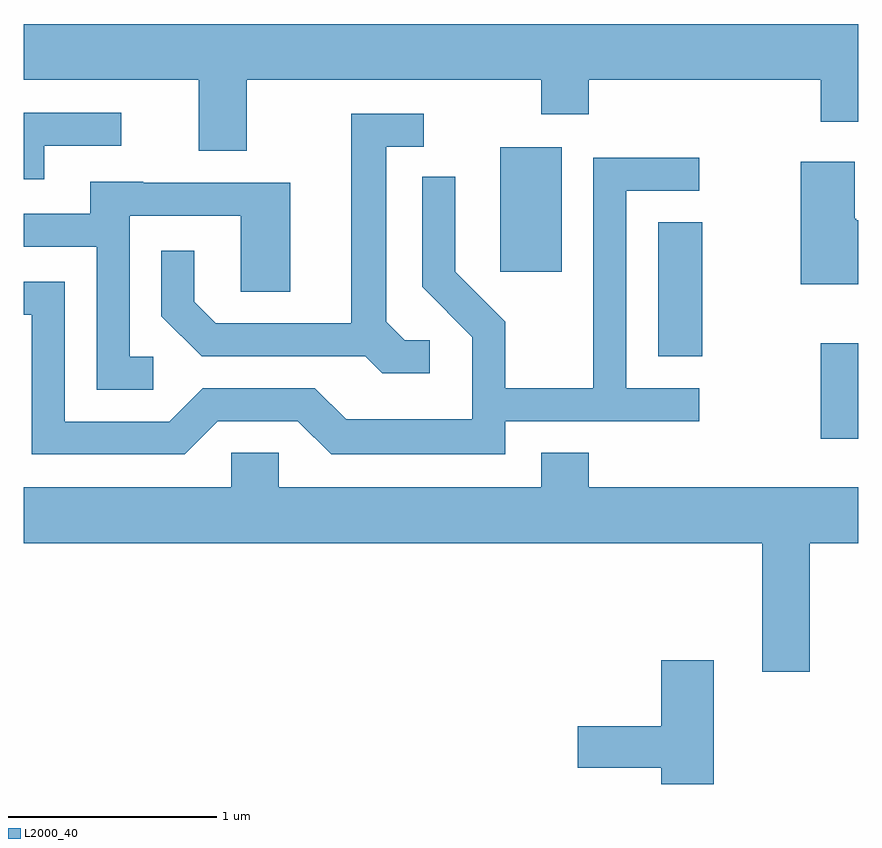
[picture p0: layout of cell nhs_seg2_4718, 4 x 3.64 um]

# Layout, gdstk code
import gdstk
lib = gdstk.Library(unit=1e-6, precision=1e-09)
def R(c, l, rs):  # rectangles x0, y0, x1, y1
    for r in rs: c.add(gdstk.rectangle(r[:2], r[2:], *l))
def P(c, l, *ps):  # polygons
    for p in ps: c.add(gdstk.Polygon(p, *l))
L2000_40 = (2000, 40)

nhs_seg2_4718 = lib.new_cell('nhs_seg2_4718')
R(nhs_seg2_4718, L2000_40, [(327.431,1075.456,327.611,1075.914), (326.651,1075.851,326.864,1076.494), (325.896,1076.256,326.189,1076.854)])
P(nhs_seg2_4718, L2000_40, [(324.679,1077.176),(326.091,1077.176),(326.091,1077.011),(326.319,1077.011),(326.319,1077.176),(327.431,1077.176),(327.431,1076.976),(327.611,1076.976),(327.611,1077.444),(323.611,1077.444),(323.611,1077.176),(324.451,1077.176),(324.451,1076.836),(324.679,1076.836)],
  [(323.709,1076.861),(324.078,1076.861),(324.078,1077.019),(323.611,1077.019),(323.611,1076.701),(323.709,1076.701)],
  [(325.558,1075.929),(325.437,1075.929),(325.349,1076.017),(325.349,1076.856),(325.528,1076.856),(325.528,1077.014),(325.181,1077.014),(325.181,1076.009),(324.532,1076.009),(324.429,1076.112),(324.429,1076.358),(324.271,1076.358),(324.271,1076.044),(324.464,1075.851),(325.249,1075.851),(325.329,1075.771),(325.558,1075.771)],
  [(324.542,1075.541),(324.924,1075.541),(325.084,1075.381),(325.919,1075.381),(325.919,1075.541),(326.848,1075.541),(326.848,1075.699),(326.499,1075.699),(326.499,1076.646),(326.848,1076.646),(326.848,1076.804),(326.341,1076.804),(326.341,1075.699),(325.919,1075.699),(325.919,1076.017),(325.679,1076.257),(325.679,1076.713),(325.521,1076.713),(325.521,1076.184),(325.761,1075.944),(325.761,1075.549),(325.157,1075.549),(325.007,1075.699),(324.469,1075.699),(324.309,1075.539),(323.809,1075.539),(323.809,1076.209),(323.611,1076.209),(323.611,1076.051),(323.651,1076.051),(323.651,1075.381),(324.382,1075.381)],
  [(327.611,1076.504),(327.6,1076.504),(327.6,1076.51),(327.594,1076.51),(327.594,1076.784),(327.336,1076.784),(327.336,1076.196),(327.611,1076.196)],
  [(324.233,1075.849),(324.119,1075.849),(324.119,1076.526),(324.651,1076.526),(324.651,1076.161),(324.889,1076.161),(324.889,1076.684),(324.185,1076.684),(324.185,1076.689),(323.931,1076.689),(323.931,1076.534),(323.611,1076.534),(323.611,1076.376),(323.961,1076.376),(323.961,1075.691),(324.233,1075.691)],
  [(327.379,1074.956),(327.611,1074.956),(327.611,1075.224),(326.319,1075.224),(326.319,1075.389),(326.091,1075.389),(326.091,1075.224),(324.834,1075.224),(324.834,1075.389),(324.606,1075.389),(324.606,1075.224),(323.611,1075.224),(323.611,1074.956),(327.151,1074.956),(327.151,1074.341),(327.379,1074.341)],
  [(326.919,1074.394),(326.666,1074.394),(326.666,1074.079),(326.266,1074.079),(326.266,1073.881),(326.666,1073.881),(326.666,1073.802),(326.919,1073.802)])

lib.write_gds('nhs_seg2_4718.gds')
